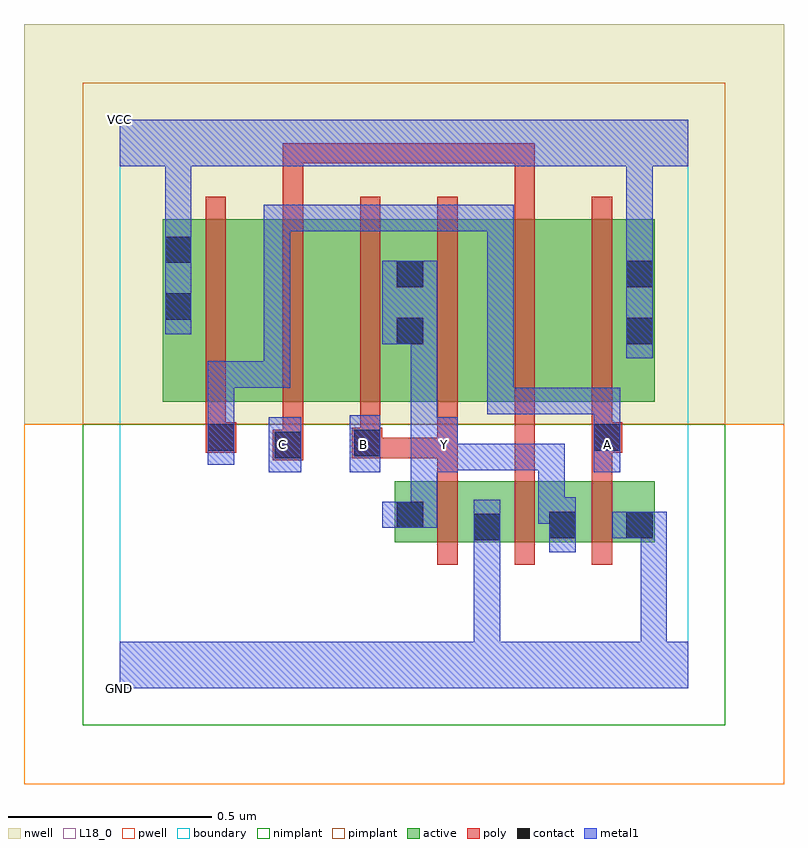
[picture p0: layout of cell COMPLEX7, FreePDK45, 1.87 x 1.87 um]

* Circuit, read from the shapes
.subckt COMPLEX7 A B C GND VCC Y
M1 GND B Y VSUBS nfet w=0.15u l=0.05u
M2 Y C GND VSUBS nfet w=0.15u l=0.05u
M3 GND A Y VSUBS nfet w=0.15u l=0.05u
M4 n1 A VCC n2 pfet w=0.45u l=0.05u
M5 n3 C n1 n2 pfet w=0.45u l=0.05u
M6 Y B n3 n2 pfet w=0.45u l=0.05u
M7 n4 B Y n2 pfet w=0.45u l=0.05u
M8 n5 C n4 n2 pfet w=0.45u l=0.05u
M9 VCC A n5 n2 pfet w=0.45u l=0.05u
.ends

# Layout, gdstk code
import gdstk
lib = gdstk.Library(unit=1e-6, precision=1e-09)
def R(c, l, rs):  # rectangles x0, y0, x1, y1
    for r in rs: c.add(gdstk.rectangle(r[:2], r[2:], *l))
def A(c, l, x, y, w, h, nx, ny, dx, dy):  # array of equal rectangles
    R(c, l, [(x+i*dx, y+j*dy, x+i*dx+w, y+j*dy+h) for i in range(nx) for j in range(ny)])
active = (1, 0)
pwell = (2, 0)
nwell = (3, 0)
nimplant = (4, 0)
pimplant = (5, 0)
poly = (9, 0)
contact = (10, 0)
metal1 = (11, 0)
L18_0 = (18, 0)
boundary = (235, 0)

complex7 = lib.new_cell('COMPLEX7')
R(complex7, active, [(0.677,0.36,0.942,0.51), (0.867,0.36,1.127,0.51), (0.867,0.36,0.942,0.435), (1.052,0.36,1.127,0.51), (1.052,0.36,1.317,0.51), (1.242,0.36,1.317,0.51), (0.677,0.39,0.752,0.51), (0.107,0.705,0.182,1.155), (0.107,0.705,0.332,1.155), (0.332,0.705,0.522,1.155), (0.522,0.705,0.752,1.155), (0.677,0.705,0.902,1.155), (0.677,0.705,0.752,1.07), (0.902,0.705,1.092,1.155), (1.092,0.705,1.317,1.155), (1.242,0.705,1.317,1.155)])
R(complex7, pwell, [(-0.235,-0.235,1.635,0.65)])
R(complex7, nwell, [(-0.235,0.65,1.635,1.635)])
R(complex7, nimplant, [(-0.09,-0.09,1.49,0.65)])
R(complex7, pimplant, [(-0.09,0.65,1.49,1.49)])
A(complex7, poly, 0.782, 0.305, 0.05, 0.26, 3, 1, 0.19, 0)
A(complex7, poly, 0.212, 0.65, 0.05, 0.56, 6, 1, 0.19, 0)
R(complex7, poly, [(0.782,0.515,0.832,0.617), (0.972,0.515,1.022,0.61), (1.162,0.515,1.212,0.63), (0.972,0.56,1.022,0.61), (0.972,0.56,1.022,0.7), (0.377,0.562,0.452,0.637), (0.572,0.567,0.647,0.642), (0.597,0.567,0.832,0.617), (0.782,0.567,0.832,0.617), (0.782,0.567,0.832,0.617), (0.782,0.567,0.832,0.617), (0.782,0.567,0.832,0.7), (0.212,0.58,0.287,0.655), (1.162,0.58,1.237,0.655), (0.402,0.587,0.452,0.7), (0.592,0.592,0.642,0.7), (0.212,0.605,0.262,0.7), (1.162,0.605,1.212,0.7), (0.402,1.16,0.452,1.342), (0.972,1.16,1.022,1.342), (0.402,1.292,0.452,1.342), (0.402,1.292,0.452,1.342), (0.402,1.292,0.452,1.342), (0.402,1.292,0.7,1.342), (0.65,1.292,0.7,1.342), (0.65,1.292,0.7,1.342), (0.65,1.292,0.7,1.342), (0.65,1.292,0.89,1.342), (0.84,1.292,0.89,1.342), (0.84,1.292,1.022,1.342), (0.972,1.292,1.022,1.342), (0.972,1.292,1.022,1.342), (0.972,1.292,1.022,1.342)])
R(complex7, contact, [(0.872,0.365,0.937,0.43), (1.057,0.37,1.122,0.435), (1.247,0.37,1.312,0.435), (0.682,0.395,0.747,0.46), (0.382,0.567,0.447,0.632), (0.577,0.572,0.642,0.637), (0.217,0.585,0.282,0.65), (1.167,0.585,1.232,0.65), (0.682,0.847,0.747,0.912), (1.247,0.847,1.312,0.912), (0.112,0.907,0.177,0.972), (0.682,0.987,0.747,1.052), (1.247,0.987,1.312,1.052), (0.112,1.047,0.177,1.112)])
R(complex7, metal1, [(0,0,1.4,0.115), (0.872,0.05,0.937,0.395), (1.282,0.05,1.347,0.435), (0.872,0.33,0.937,0.395), (0.872,0.33,0.937,0.395), (0.872,0.33,0.937,0.395), (0.872,0.33,0.937,0.395), (0.872,0.33,0.937,0.465), (1.057,0.335,1.122,0.47), (1.212,0.37,1.347,0.435), (1.282,0.37,1.347,0.435), (1.282,0.37,1.347,0.435), (1.282,0.37,1.347,0.435), (1.282,0.37,1.347,0.435), (0.647,0.395,0.782,0.46), (0.717,0.395,0.782,0.46), (0.717,0.395,0.782,0.602), (0.717,0.395,0.782,0.597), (1.03,0.405,1.122,0.47), (1.03,0.405,1.095,0.602), (0.367,0.532,0.447,0.667), (0.567,0.532,0.642,0.672), (0.717,0.532,0.832,0.667), (1.167,0.532,1.232,0.74), (0.717,0.537,0.985,0.602), (0.92,0.537,0.985,0.602), (0.92,0.537,1.095,0.602), (0.217,0.55,0.282,0.685), (0.717,0.602,0.782,0.912), (0.217,0.62,0.282,0.685), (0.217,0.62,0.282,0.685), (0.217,0.62,0.282,0.805), (0.905,0.675,0.97,0.74), (0.905,0.675,0.97,0.74), (0.905,0.675,0.97,0.74), (0.905,0.675,1.14,0.74), (0.905,0.675,0.97,1.19), (1.075,0.675,1.14,0.74), (1.075,0.675,1.232,0.74), (0.217,0.74,0.282,0.805), (0.217,0.74,0.42,0.805), (0.355,0.74,0.42,0.805), (0.355,0.74,0.42,0.805), (0.355,0.74,0.42,0.805), (0.355,0.74,0.42,1.19), (1.247,0.812,1.312,1.087), (0.647,0.847,0.782,1.052), (0.112,0.872,0.177,1.147), (1.247,1.022,1.312,1.087), (1.247,1.022,1.312,1.087), (1.247,1.022,1.312,1.35), (0.112,1.082,0.177,1.147), (0.112,1.082,0.177,1.147), (0.112,1.082,0.177,1.35), (0.355,1.125,0.42,1.19), (0.355,1.125,0.645,1.19), (0.58,1.125,0.645,1.19), (0.58,1.125,0.645,1.19), (0.58,1.125,0.645,1.19), (0.58,1.125,0.832,1.19), (0.767,1.125,0.832,1.19), (0.767,1.125,0.97,1.19), (0.905,1.125,0.97,1.19), (0.905,1.125,0.97,1.19), (0.905,1.125,0.97,1.19), (0,1.285,1.4,1.4)])
A(complex7, L18_0, 0.367, 0.567, 0.065, 0.065, 3, 1, 0.2, 0)
R(complex7, L18_0, [(0,0,1.4,0.115), (0.872,0.05,0.937,0.395), (1.282,0.05,1.347,0.435), (0.872,0.33,0.937,0.395), (0.872,0.33,0.937,0.395), (0.872,0.33,0.937,0.395), (0.872,0.33,0.937,0.395), (0.872,0.33,0.937,0.465), (1.057,0.335,1.122,0.47), (1.212,0.37,1.347,0.435), (1.282,0.37,1.347,0.435), (1.282,0.37,1.347,0.435), (1.282,0.37,1.347,0.435), (1.282,0.37,1.347,0.435), (0.647,0.395,0.782,0.46), (0.717,0.395,0.782,0.46), (0.717,0.395,0.782,0.597), (0.717,0.395,0.782,0.602), (1.03,0.405,1.095,0.602), (1.03,0.405,1.122,0.47), (0.367,0.532,0.447,0.667), (0.567,0.532,0.642,0.672), (0.717,0.532,0.832,0.667), (1.167,0.532,1.232,0.74), (0.717,0.537,0.985,0.602), (0.92,0.537,0.985,0.602), (0.92,0.537,1.095,0.602), (0.217,0.55,0.282,0.685), (1.167,0.567,1.232,0.632), (0.717,0.602,0.782,0.912), (0.217,0.62,0.282,0.685), (0.217,0.62,0.282,0.685), (0.217,0.62,0.282,0.805), (0.905,0.675,0.97,0.74), (0.905,0.675,0.97,0.74), (0.905,0.675,0.97,0.74), (0.905,0.675,0.97,1.19), (0.905,0.675,1.14,0.74), (1.075,0.675,1.14,0.74), (1.075,0.675,1.232,0.74), (0.217,0.74,0.282,0.805), (0.217,0.74,0.42,0.805), (0.355,0.74,0.42,0.805), (0.355,0.74,0.42,0.805), (0.355,0.74,0.42,0.805), (0.355,0.74,0.42,1.19), (1.247,0.812,1.312,1.087), (0.647,0.847,0.782,1.052), (0.112,0.872,0.177,1.147), (1.247,1.022,1.312,1.087), (1.247,1.022,1.312,1.087), (1.247,1.022,1.312,1.35), (0.112,1.082,0.177,1.147), (0.112,1.082,0.177,1.147), (0.112,1.082,0.177,1.35), (0.355,1.125,0.42,1.19), (0.355,1.125,0.645,1.19), (0.58,1.125,0.645,1.19), (0.58,1.125,0.645,1.19), (0.58,1.125,0.645,1.19), (0.58,1.125,0.832,1.19), (0.767,1.125,0.832,1.19), (0.767,1.125,0.97,1.19), (0.905,1.125,0.97,1.19), (0.905,1.125,0.97,1.19), (0.905,1.125,0.97,1.19), (0,1.285,1.4,1.4)])
R(complex7, boundary, [(0,0,1.4,1.4)])
complex7.add(gdstk.Label('A', (1.2,0.6), layer=11, texttype=0))
complex7.add(gdstk.Label('B', (0.6,0.6), layer=11, texttype=0))
complex7.add(gdstk.Label('C', (0.4,0.6), layer=11, texttype=0))
complex7.add(gdstk.Label('Y', (0.8,0.6), layer=11, texttype=0))
complex7.add(gdstk.Label('VCC', (0,1.4), layer=11, texttype=0))
complex7.add(gdstk.Label('GND', (0,0), layer=11, texttype=0))

lib.write_gds('COMPLEX7.gds')
